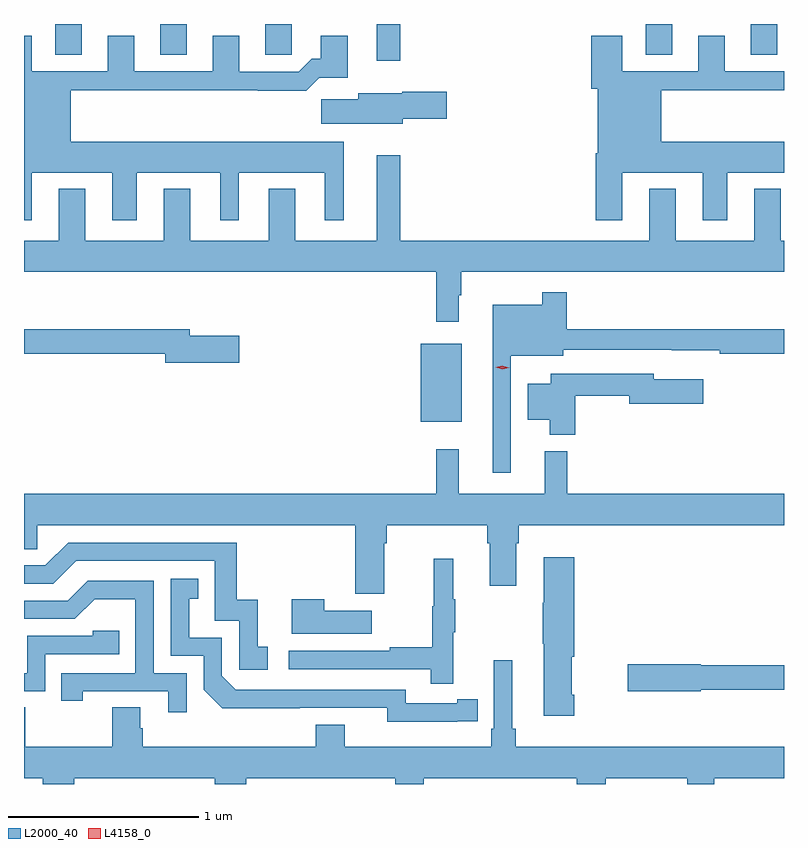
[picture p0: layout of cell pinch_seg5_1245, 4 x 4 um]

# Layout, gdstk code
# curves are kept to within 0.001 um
import gdstk
lib = gdstk.Library(unit=1e-6, precision=1e-09)
def R(c, l, rs):  # rectangles x0, y0, x1, y1
    for r in rs: c.add(gdstk.rectangle(r[:2], r[2:], *l))
def P(c, l, *ps):  # polygons
    for p in ps: c.add(gdstk.Polygon(p, *l))
L2000_40 = (2000, 40)
L4158_0 = (4158, 0)

pinch_seg5_1245 = lib.new_cell('pinch_seg5_1245')
R(pinch_seg5_1245, L2000_40, [(481.484,843.983,481.699,844.393), (481.253,845.883,481.375,846.077), (479.561,845.914,479.701,846.077), (480.113,845.914,480.253,846.077), (480.665,845.914,480.804,846.077), (482.669,845.914,482.809,846.077), (483.221,845.914,483.361,846.077)])
P(pinch_seg5_1245, L2000_40, [(479.437,845.294),(479.861,845.294),(479.861,845.043),(479.989,845.043),(479.989,845.294),(480.428,845.294),(480.428,845.043),(480.526,845.043),(480.526,845.294),(480.98,845.294),(480.98,845.043),(481.078,845.043),(481.078,845.458),(479.641,845.458),(479.641,845.728),(480.625,845.728),(480.625,845.726),(480.881,845.726),(480.95,845.795),(481.099,845.795),(481.099,846.016),(480.959,846.016),(480.959,845.893),(480.91,845.893),(480.843,845.826),(480.529,845.826),(480.529,846.016),(480.389,846.016),(480.389,845.829),(479.977,845.829),(479.977,846.016),(479.837,846.016),(479.837,845.829),(479.437,845.829),(479.437,846.016),(479.396,846.016),(479.396,845.043),(479.437,845.043)],
  [(482.545,845.294),(482.969,845.294),(482.969,845.043),(483.097,845.043),(483.097,845.294),(483.396,845.294),(483.396,845.458),(482.749,845.458),(482.749,845.728),(483.396,845.728),(483.396,845.829),(483.085,845.829),(483.085,846.016),(482.945,846.016),(482.945,845.829),(482.545,845.829),(482.545,846.016),(482.381,846.016),(482.381,845.736),(482.417,845.736),(482.417,845.398),(482.405,845.398),(482.405,845.043),(482.545,845.043)],
  [(481.39,845.579),(481.621,845.579),(481.621,845.721),(481.386,845.721),(481.386,845.713),(481.154,845.713),(481.154,845.681),(480.96,845.681),(480.96,845.552),(481.39,845.552)],
  [(481.684,844.649),(481.696,844.649),(481.696,844.772),(483.396,844.772),(483.396,844.936),(483.379,844.936),(483.379,845.209),(483.239,845.209),(483.239,844.936),(482.827,844.936),(482.827,845.209),(482.687,845.209),(482.687,844.936),(481.375,844.936),(481.375,845.386),(481.253,845.386),(481.253,844.936),(480.823,844.936),(480.823,845.209),(480.683,845.209),(480.683,844.936),(480.271,844.936),(480.271,845.209),(480.131,845.209),(480.131,844.936),(479.719,844.936),(479.719,845.209),(479.579,845.209),(479.579,844.936),(479.396,844.936),(479.396,844.772),(481.567,844.772),(481.567,844.509),(481.684,844.509)],
  [(481.959,844.331),(482.233,844.331),(482.233,844.362),(482.806,844.362),(482.806,844.361),(483.058,844.361),(483.058,844.342),(483.396,844.342),(483.396,844.471),(482.252,844.471),(482.252,844.666),(482.124,844.666),(482.124,844.6),(481.862,844.6),(481.862,843.714),(481.959,843.714)],
  [(480.529,844.437),(480.268,844.437),(480.268,844.471),(479.396,844.471),(479.396,844.342),(480.14,844.342),(480.14,844.295),(480.529,844.295)],
  [(482.297,844.12),(482.582,844.12),(482.582,844.078),(482.971,844.078),(482.971,844.207),(482.71,844.207),(482.71,844.236),(482.168,844.236),(482.168,844.183),(482.048,844.183),(482.048,843.995),(482.162,843.995),(482.162,843.914),(482.297,843.914)],
  [(481.291,843.344),(481.304,843.344),(481.304,843.44),(481.835,843.44),(481.835,843.344),(481.847,843.344),(481.847,843.12),(481.987,843.12),(481.987,843.344),(482,843.344),(482,843.44),(483.396,843.44),(483.396,843.604),(482.255,843.604),(482.255,843.829),(482.138,843.829),(482.138,843.604),(481.685,843.604),(481.685,843.838),(481.567,843.838),(481.567,843.604),(479.396,843.604),(479.396,843.313),(479.466,843.313),(479.466,843.44),(481.139,843.44),(481.139,843.078),(481.291,843.078)],
  [(480.679,842.799),(480.626,842.799),(480.626,843.046),(480.515,843.046),(480.515,843.348),(479.628,843.348),(479.508,843.228),(479.396,843.228),(479.396,843.132),(479.55,843.132),(479.67,843.252),(480.399,843.252),(480.399,842.937),(480.528,842.937),(480.528,842.679),(480.679,842.679)],
  [(482.291,842.548),(482.278,842.548),(482.278,842.748),(482.291,842.748),(482.291,843.271),(482.132,843.271),(482.132,843.032),(482.125,843.032),(482.125,842.815),(482.132,842.815),(482.132,842.436),(482.291,842.436)],
  [(481.655,842.875),(481.666,842.875),(481.666,843.049),(481.655,843.049),(481.655,843.262),(481.552,843.262),(481.552,843.012),(481.545,843.012),(481.545,842.798),(481.321,842.798),(481.321,842.778),(480.789,842.778),(480.789,842.682),(481.537,842.682),(481.537,842.604),(481.655,842.604)],
  [(481.676,842.406),(481.784,842.406),(481.784,842.522),(481.676,842.522),(481.676,842.502),(481.404,842.502),(481.404,842.574),(480.51,842.574),(480.438,842.646),(480.438,842.847),(480.265,842.847),(480.265,843.051),(480.314,843.051),(480.314,843.157),(480.168,843.157),(480.168,842.751),(480.342,842.751),(480.342,842.574),(480.44,842.477),(481.308,842.478),(481.308,842.405)],
  [(480.252,842.661),(480.078,842.661),(480.078,843.147),(479.732,843.147),(479.627,843.042),(479.396,843.042),(479.396,842.946),(479.664,842.946),(479.768,843.05),(479.982,843.05),(479.982,842.661),(479.593,842.661),(479.593,842.514),(479.704,842.514),(479.704,842.565),(480.155,842.565),(480.155,842.454),(480.252,842.454)],
  [(481.225,842.989),(480.977,842.989),(480.977,843.049),(480.806,843.049),(480.806,842.867),(481.225,842.867)],
  [(479.508,842.76),(479.897,842.76),(479.897,842.883),(479.757,842.883),(479.757,842.856),(479.412,842.856),(479.412,842.661),(479.396,842.661),(479.396,842.565),(479.508,842.565)],
  [(479.66,842.108),(480.401,842.108),(480.401,842.077),(480.566,842.077),(480.566,842.108),(481.349,842.108),(481.349,842.077),(481.501,842.077),(481.501,842.108),(482.306,842.108),(482.306,842.077),(482.458,842.077),(482.458,842.108),(482.888,842.108),(482.888,842.077),(483.028,842.077),(483.028,842.108),(483.396,842.108),(483.396,842.272),(481.985,842.272),(481.985,842.368),(481.966,842.368),(481.966,842.728),(481.869,842.728),(481.869,842.368),(481.856,842.368),(481.856,842.272),(481.084,842.272),(481.084,842.389),(480.932,842.389),(480.932,842.272),(480.02,842.272),(480.02,842.37),(480.007,842.37),(480.007,842.48),(479.86,842.48),(479.86,842.272),(479.403,842.272),(479.403,842.48),(479.396,842.48),(479.396,842.108),(479.495,842.108),(479.495,842.077),(479.66,842.077)],
  [(482.958,842.574),(483.396,842.574),(483.396,842.702),(482.958,842.702),(482.958,842.708),(482.574,842.708),(482.574,842.566),(482.958,842.566)])
P(pinch_seg5_1245, L4158_0, [(481.913,844.259),(481.878,844.27),(481.877,844.27),(481.878,844.271),(481.913,844.279),(481.949,844.268),(481.949,844.268),(481.949,844.268)])

lib.write_gds('pinch_seg5_1245.gds')
